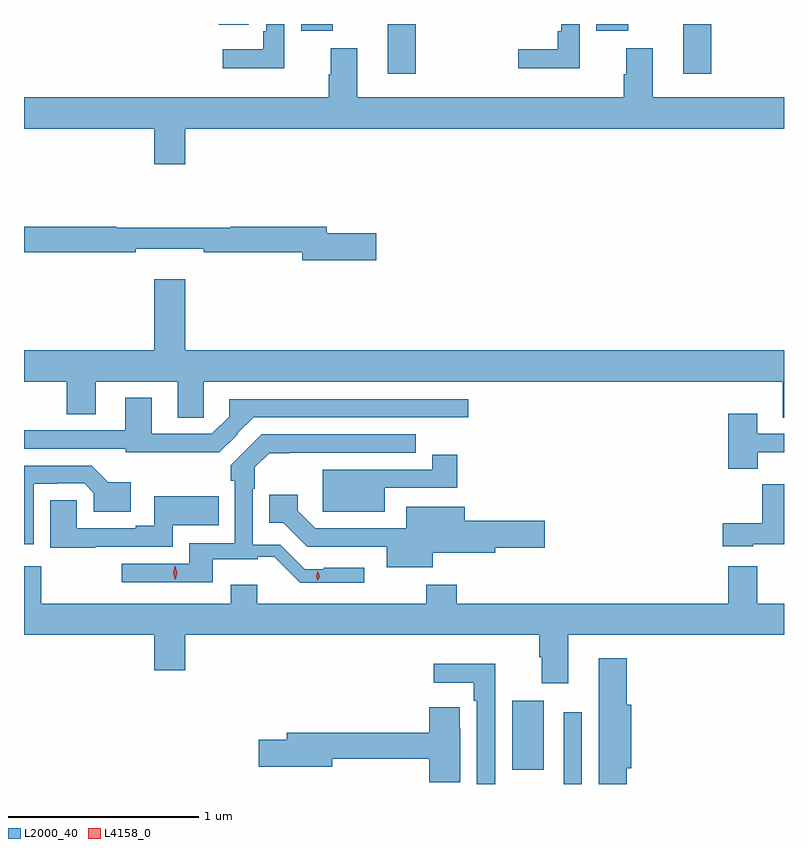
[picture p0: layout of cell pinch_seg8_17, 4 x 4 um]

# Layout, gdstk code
import gdstk
lib = gdstk.Library(unit=1e-6, precision=1e-09)
def R(c, l, rs):  # rectangles x0, y0, x1, y1
    for r in rs: c.add(gdstk.rectangle(r[:2], r[2:], *l))
def P(c, l, *ps):  # polygons
    for p in ps: c.add(gdstk.Polygon(p, *l))
L2000_40 = (2000, 40)
L4158_0 = (4158, 0)

pinch_seg8_17 = lib.new_cell('pinch_seg8_17')
R(pinch_seg8_17, L2000_40, [(1030.299,1157.006,1030.395,1157.383), (1030.028,1157.08,1030.195,1157.443), (1029.374,1160.745,1029.521,1161.006), (1030.928,1160.745,1031.075,1161.006), (1028.918,1160.97,1029.085,1161.006), (1030.472,1160.97,1030.639,1161.006), (1028.483,1161.003,1028.643,1161.006)])
P(pinch_seg8_17, L2000_40, [(1028.829,1161.006),(1028.733,1161.006),(1028.733,1160.968),(1028.717,1160.968),(1028.717,1160.872),(1028.505,1160.872),(1028.505,1160.774),(1028.829,1160.774)],
  [(1030.383,1161.006),(1030.287,1161.006),(1030.287,1160.968),(1030.267,1160.968),(1030.267,1160.872),(1030.059,1160.872),(1030.059,1160.774),(1030.383,1160.774)],
  [(1028.308,1160.456),(1031.459,1160.456),(1031.459,1160.62),(1030.768,1160.62),(1030.768,1160.878),(1030.628,1160.878),(1030.628,1160.741),(1030.616,1160.741),(1030.616,1160.62),(1029.214,1160.62),(1029.214,1160.878),(1029.074,1160.878),(1029.074,1160.741),(1029.062,1160.741),(1029.062,1160.62),(1027.459,1160.62),(1027.459,1160.456),(1028.144,1160.456),(1028.144,1160.268),(1028.308,1160.268)],
  [(1029.313,1159.904),(1029.052,1159.904),(1029.052,1159.94),(1028.548,1159.94),(1028.548,1159.933),(1027.948,1159.933),(1027.948,1159.94),(1027.459,1159.94),(1027.459,1159.804),(1028.048,1159.804),(1028.048,1159.823),(1028.404,1159.823),(1028.404,1159.804),(1028.924,1159.804),(1028.924,1159.762),(1029.313,1159.762)],
  [(1028.406,1159.124),(1031.453,1159.124),(1031.453,1158.934),(1031.459,1158.934),(1031.459,1159.288),(1028.308,1159.288),(1028.308,1159.663),(1028.144,1159.663),(1028.144,1159.288),(1027.459,1159.288),(1027.459,1159.124),(1027.685,1159.124),(1027.685,1158.952),(1027.837,1158.952),(1027.837,1159.124),(1028.267,1159.124),(1028.267,1158.934),(1028.406,1158.934)],
  [(1028.585,1158.848),(1028.582,1158.851),(1028.667,1158.936),(1029.796,1158.936),(1029.796,1159.032),(1028.539,1159.032),(1028.539,1158.94),(1028.448,1158.849),(1028.131,1158.849),(1028.131,1159.039),(1027.991,1159.039),(1027.991,1158.867),(1027.459,1158.867),(1027.459,1158.771),(1027.995,1158.771),(1027.995,1158.751),(1028.487,1158.751)],
  [(1031.32,1158.752),(1031.459,1158.752),(1031.459,1158.849),(1031.317,1158.849),(1031.317,1158.955),(1031.165,1158.955),(1031.165,1158.665),(1031.32,1158.665)],
  [(1029.25,1158.144),(1029.037,1158.144),(1029.037,1158.135),(1028.937,1158.135),(1028.808,1158.264),(1028.664,1158.264),(1028.664,1158.56),(1028.674,1158.56),(1028.674,1158.672),(1028.75,1158.748),(1028.854,1158.748),(1028.854,1158.75),(1029.52,1158.75),(1029.52,1158.846),(1028.711,1158.846),(1028.548,1158.683),(1028.548,1158.602),(1028.568,1158.602),(1028.568,1158.273),(1028.33,1158.273),(1028.33,1158.165),(1027.974,1158.165),(1027.974,1158.069),(1028.452,1158.069),(1028.452,1158.189),(1028.688,1158.189),(1028.688,1158.201),(1028.775,1158.201),(1028.913,1158.064),(1029.25,1158.064)],
  [(1029.358,1158.564),(1029.739,1158.564),(1029.739,1158.739),(1029.608,1158.739),(1029.608,1158.66),(1029.254,1158.66),(1029.254,1158.661),(1029.032,1158.661),(1029.032,1158.44),(1029.358,1158.44)],
  [(1027.51,1158.585),(1027.634,1158.585),(1027.634,1158.588),(1027.776,1158.588),(1027.827,1158.537),(1027.827,1158.44),(1028.02,1158.44),(1028.02,1158.595),(1027.902,1158.595),(1027.816,1158.681),(1027.459,1158.681),(1027.459,1158.269),(1027.51,1158.269)],
  [(1031.298,1158.269),(1031.459,1158.269),(1031.459,1158.583),(1031.344,1158.583),(1031.344,1158.379),(1031.136,1158.379),(1031.136,1158.257),(1031.298,1158.257)],
  [(1029.61,1158.224),(1029.94,1158.224),(1029.94,1158.25),(1030.201,1158.25),(1030.201,1158.392),(1029.778,1158.392),(1029.778,1158.466),(1029.47,1158.466),(1029.47,1158.351),(1028.991,1158.351),(1028.899,1158.443),(1028.899,1158.529),(1028.749,1158.529),(1028.749,1158.38),(1028.824,1158.38),(1028.949,1158.255),(1029.368,1158.255),(1029.368,1158.146),(1029.61,1158.146)],
  [(1027.834,1158.255),(1028.241,1158.255),(1028.241,1158.368),(1028.483,1158.368),(1028.483,1158.52),(1028.145,1158.52),(1028.145,1158.364),(1028.048,1158.364),(1028.048,1158.351),(1027.737,1158.351),(1027.737,1158.5),(1027.598,1158.5),(1027.598,1158.25),(1027.834,1158.25)],
  [(1030.324,1157.792),(1031.459,1157.792),(1031.459,1157.956),(1031.317,1157.956),(1031.317,1158.151),(1031.165,1158.151),(1031.165,1157.956),(1029.737,1157.956),(1029.737,1158.055),(1029.577,1158.055),(1029.577,1157.956),(1028.686,1157.956),(1028.686,1158.055),(1028.546,1158.055),(1028.546,1157.956),(1027.551,1157.956),(1027.551,1158.151),(1027.459,1158.151),(1027.459,1157.792),(1028.144,1157.792),(1028.144,1157.604),(1028.308,1157.604),(1028.308,1157.792),(1030.172,1157.792),(1030.172,1157.672),(1030.184,1157.672),(1030.184,1157.535),(1030.324,1157.535)],
  [(1030.631,1157.088),(1030.655,1157.088),(1030.655,1157.424),(1030.631,1157.424),(1030.631,1157.668),(1030.484,1157.668),(1030.484,1157.006),(1030.631,1157.006)],
  [(1029.939,1157.638),(1029.615,1157.638),(1029.615,1157.54),(1029.827,1157.54),(1029.827,1157.444),(1029.843,1157.444),(1029.843,1157.006),(1029.939,1157.006)],
  [(1029.754,1157.297),(1029.753,1157.297),(1029.753,1157.41),(1029.593,1157.41),(1029.593,1157.276),(1028.843,1157.276),(1028.843,1157.24),(1028.694,1157.24),(1028.694,1157.098),(1029.082,1157.098),(1029.082,1157.14),(1029.593,1157.14),(1029.593,1157.014),(1029.754,1157.014)])
P(pinch_seg8_17, L4158_0, [(1029.005,1158.075),(1028.996,1158.1),(1029.005,1158.126),(1029.006,1158.126),(1029.006,1158.126),(1029.016,1158.1),(1029.006,1158.075),(1029.006,1158.075)],
  [(1028.256,1158.08),(1028.256,1158.08),(1028.245,1158.116),(1028.253,1158.152),(1028.254,1158.152),(1028.254,1158.152),(1028.265,1158.116),(1028.256,1158.08)])

lib.write_gds('pinch_seg8_17.gds')
